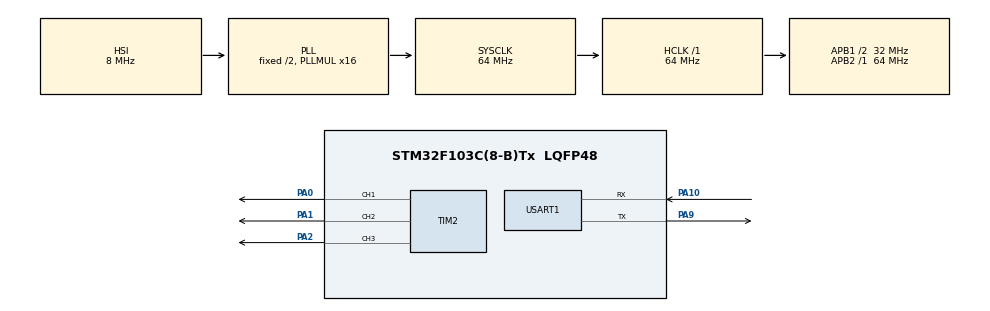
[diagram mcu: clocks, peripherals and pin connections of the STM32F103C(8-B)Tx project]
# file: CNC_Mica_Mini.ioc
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Dma.Request0=USART1_TX
Dma.USART1_TX.0.Direction=DMA_MEMORY_TO_PERIPH
Dma.USART1_TX.0.Instance=DMA1_Channel4
Dma.USART1_TX.0.MemDataAlignment=DMA_MDATAALIGN_BYTE
Dma.USART1_TX.0.MemInc=DMA_MINC_ENABLE
Dma.USART1_TX.0.Mode=DMA_NORMAL
Dma.USART1_TX.0.PeriphDataAlignment=DMA_PDATAALIGN_BYTE
Dma.USART1_TX.0.PeriphInc=DMA_PINC_DISABLE
Dma.USART1_TX.0.Priority=DMA_PRIORITY_LOW
Mcu.Family=STM32F1
Mcu.Name=STM32F103C(8-B)Tx
Mcu.Package=LQFP48
NVIC.DMA1_Channel4_IRQn=true\:0\:0\:false\:false\:true\:false\:true
NVIC.PriorityGroup=NVIC_PRIORITYGROUP_4
NVIC.USART1_IRQn=true\:0\:0\:false\:false\:true\:true\:true
PA0-WKUP.Signal=S_TIM2_CH1_ETR
PA1.Signal=S_TIM2_CH2
PA10.Mode=Asynchronous
PA10.Signal=USART1_RX
PA13.Mode=Serial_Wire
PA13.Signal=SYS_JTMS-SWDIO
PA14.Mode=Serial_Wire
PA14.Signal=SYS_JTCK-SWCLK
PA2.Signal=S_TIM2_CH3
PA9.Mode=Asynchronous
PA9.Signal=USART1_TX
ProjectManager.HeapSize=0x200
ProjectManager.StackSize=0x400
ProjectManager.TargetToolchain=MDK-ARM V5.32
RCC.AHBFreq_Value=64000000
RCC.APB1CLKDivider=RCC_HCLK_DIV2
RCC.APB1Freq_Value=32000000
RCC.APB1TimFreq_Value=64000000
RCC.APB2Freq_Value=64000000
RCC.APB2TimFreq_Value=64000000
RCC.HCLKFreq_Value=64000000
RCC.PLLMUL=RCC_PLL_MUL16
RCC.SYSCLKFreq_VALUE=64000000
RCC.SYSCLKSource=RCC_SYSCLKSOURCE_PLLCLK
RCC.USBFreq_Value=64000000
SH.S_TIM2_CH1_ETR.0=TIM2_CH1,PWM Generation1 CH1
SH.S_TIM2_CH2.0=TIM2_CH2,PWM Generation2 CH2
SH.S_TIM2_CH3.0=TIM2_CH3,PWM Generation3 CH3
TIM2.Channel-PWM\ Generation1\ CH1=TIM_CHANNEL_1
TIM2.Channel-PWM\ Generation2\ CH2=TIM_CHANNEL_2
TIM2.Channel-PWM\ Generation3\ CH3=TIM_CHANNEL_3
USART1.VirtualMode=VM_ASYNC
VP_TIM2_VS_ClockSourceITR.Mode=TriggerSource_ITR0
VP_TIM2_VS_ControllerModeClock.Mode=Clock Mode
board=custom

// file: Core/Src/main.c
/* USER CODE BEGIN Header */
/**
  ******************************************************************************
  * @file           : main.c
  * @brief          : Main program body
  ******************************************************************************
  * @attention
  *
  * Copyright (c) 2022 STMicroelectronics.
  * All rights reserved.
  *
  * This software is licensed under terms that can be found in the LICENSE file
  * in the root directory of this software component.
  * If no LICENSE file comes with this software, it is provided AS-IS.
  *
  ******************************************************************************
  */
/* USER CODE END Header */
#include "main.h"
#include "dma.h"
#include "tim.h"
#include "usart.h"
#include "gpio.h"

/* USER CODE BEGIN Includes */

//----- necessary library
#include <stdio.h>
#include <string.h>
/* USER CODE END Includes */

/* USER CODE BEGIN PTD */

enum
{
	stop = 0,
	run,
	process
}flag;

/* USER CODE END PTD */

/* USER CODE BEGIN PD */

// ---- constants
#define PI 3.1415926535897932384626433832795
#define HALF_PI 1.5707963267948966192313216916398
#define TWO_PI 6.283185307179586476925286766559
#define DEG_TO_RAD 0.017453292519943295769236907684886
#define RAD_TO_DEG 57.295779513082320876798154814105

// ---- gcode define
#define STRING_SIZE 128
char RX_BUFFER[STRING_SIZE + 1];
char TX_BUFFER[STRING_SIZE - 1];
uint8_t RX_Index = 0;
uint8_t RX_Data;

// ----- signals define
#define PAUSE 0x11
#define RESUME 0x13

/* USER CODE END PD */

/* USER CODE BEGIN PV */

char debug_flag = stop;

//---- control flag
char control_flag = stop;

/* USER CODE END PV */

void SystemClock_Config(void);

/* USER CODE BEGIN 0 */
void debug(char character)
{
	if(debug_flag == run)
	{
		TX_BUFFER[0] = character;
		HAL_UART_Transmit_DMA(&huart1, (uint8_t *)TX_BUFFER, 1);
	}
}

void HAL_UART_RxCpltCallback(UART_HandleTypeDef *huart)
{
	if(huart -> Instance == huart1.Instance)
	{
		// save characer to buffer
		if( RX_Data != '\n')
		{
			// save character to buffer then increase index 1 unit
			RX_BUFFER[RX_Index++] = RX_Data;
		}
		// receive end characer => send signal pause to gui => process data
		if( RX_Data == '\n')
		{
			RX_Index = 0;
			control_flag = process;
			sprintf(TX_BUFFER, "%c\n", PAUSE);
			HAL_UART_Transmit_DMA(&huart1, (uint8_t *)TX_BUFFER, sizeof(TX_BUFFER));
		}
		// enable uart interrupt when receive 1 character
		HAL_UART_Receive_IT(&huart1, &RX_Data, 1);
	}
}

/* USER CODE END 0 */

int main(void)
{

  /* MCU Configuration--------------------------------------------------------*/

  /* Reset of all peripherals, Initializes the Flash interface and the Systick. */
  HAL_Init();

  /* Configure the system clock */
  SystemClock_Config();

  /* Initialize all configured peripherals */
  MX_GPIO_Init();
  MX_DMA_Init();
  MX_USART1_UART_Init();
  MX_TIM2_Init();
  /* USER CODE BEGIN 2 */

	//enable uart interrupt when receive 1 character
	HAL_UART_Receive_IT(&huart1, &RX_Data, 1);

  /* USER CODE END 2 */

  /* Infinite loop */
  /* USER CODE BEGIN WHILE */
  while (1)
  {
		switch( control_flag)
		{
			// process data
			case process:
				switch( RX_BUFFER[0])
				{

				}
				break;

			// run motor
			case run:
				break;
		}
    /* USER CODE END WHILE */

  }
}

void SystemClock_Config(void)
{
  RCC_OscInitTypeDef RCC_OscInitStruct = {0};
  RCC_ClkInitTypeDef RCC_ClkInitStruct = {0};

  /** Initializes the RCC Oscillators according to the specified parameters
  * in the RCC_OscInitTypeDef structure.
  */
  RCC_OscInitStruct.OscillatorType = RCC_OSCILLATORTYPE_HSI;
  RCC_OscInitStruct.HSIState = RCC_HSI_ON;
  RCC_OscInitStruct.HSICalibrationValue = RCC_HSICALIBRATION_DEFAULT;
  RCC_OscInitStruct.PLL.PLLState = RCC_PLL_ON;
  RCC_OscInitStruct.PLL.PLLSource = RCC_PLLSOURCE_HSI_DIV2;
  RCC_OscInitStruct.PLL.PLLMUL = RCC_PLL_MUL16;
  if (HAL_RCC_OscConfig(&RCC_OscInitStruct) != HAL_OK)
  {
    Error_Handler();
  }
  /** Initializes the CPU, AHB and APB buses clocks
  */
  RCC_ClkInitStruct.ClockType = RCC_CLOCKTYPE_HCLK|RCC_CLOCKTYPE_SYSCLK
                              |RCC_CLOCKTYPE_PCLK1|RCC_CLOCKTYPE_PCLK2;
  RCC_ClkInitStruct.SYSCLKSource = RCC_SYSCLKSOURCE_PLLCLK;
  RCC_ClkInitStruct.AHBCLKDivider = RCC_SYSCLK_DIV1;
  RCC_ClkInitStruct.APB1CLKDivider = RCC_HCLK_DIV2;
  RCC_ClkInitStruct.APB2CLKDivider = RCC_HCLK_DIV1;

  if (HAL_RCC_ClockConfig(&RCC_ClkInitStruct, FLASH_LATENCY_2) != HAL_OK)
  {
    Error_Handler();
  }
}

void Error_Handler(void)
{
  __disable_irq();
  while (1)
  {
  }
}
